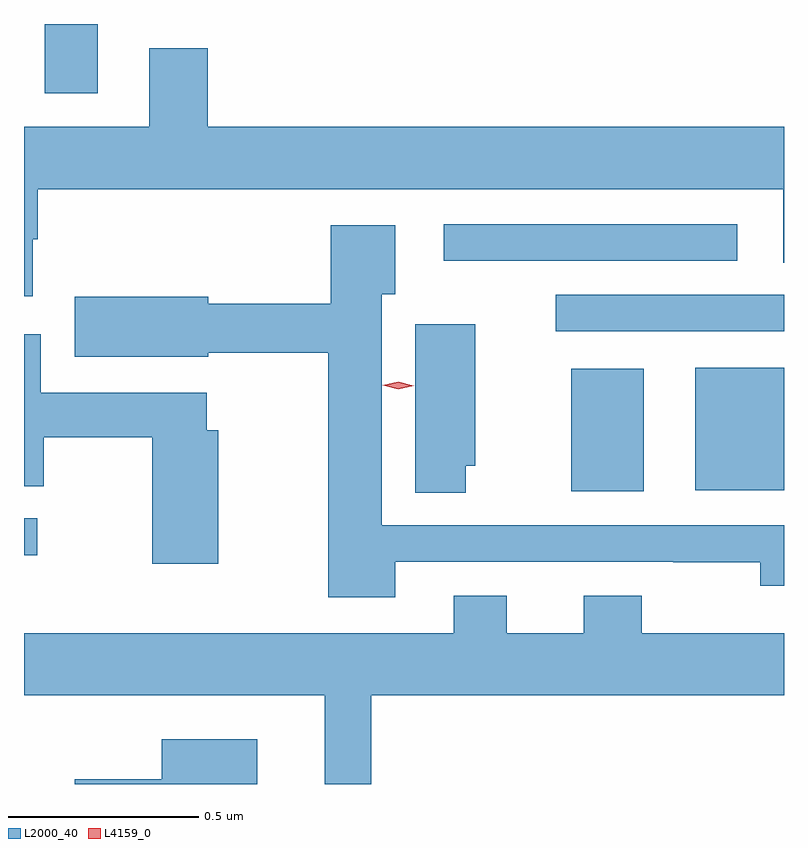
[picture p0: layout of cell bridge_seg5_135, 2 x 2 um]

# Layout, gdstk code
import gdstk
lib = gdstk.Library(unit=1e-6, precision=1e-09)
def R(c, l, rs):  # rectangles x0, y0, x1, y1
    for r in rs: c.add(gdstk.rectangle(r[:2], r[2:], *l))
def P(c, l, *ps):  # polygons
    for p in ps: c.add(gdstk.Polygon(p, *l))
L2000_40 = (2000, 40)
L4159_0 = (4159, 0)

bridge_seg5_135 = lib.new_cell('bridge_seg5_135')
R(bridge_seg5_135, L2000_40, [(305.303,893.093,305.338,893.19), (306.743,893.261,306.934,893.584), (307.07,893.264,307.303,893.587), (306.702,893.682,307.303,893.778), (306.408,893.868,307.18,893.964), (305.357,894.309,305.497,894.491)])
P(bridge_seg5_135, L2000_40, [(305.326,893.924),(305.339,893.924),(305.339,894.056),(307.301,894.056),(307.301,893.863),(307.303,893.863),(307.303,894.22),(305.786,894.22),(305.786,894.427),(305.633,894.427),(305.633,894.22),(305.303,894.22),(305.303,893.775),(305.326,893.775)],
  [(306.28,893.076),(307.012,893.076),(307.012,893.075),(307.24,893.075),(307.24,893.013),(307.303,893.013),(307.303,893.172),(306.244,893.172),(306.244,893.78),(306.28,893.78),(306.28,893.962),(306.11,893.962),(306.11,893.755),(305.788,893.755),(305.788,893.773),(305.436,893.773),(305.436,893.615),(305.788,893.615),(305.788,893.626),(306.103,893.626),(306.103,892.982),(306.28,892.982)],
  [(306.466,893.328),(306.49,893.328),(306.49,893.701),(306.332,893.701),(306.332,893.257),(306.466,893.257)],
  [(305.814,893.422),(305.784,893.422),(305.784,893.52),(305.347,893.52),(305.347,893.674),(305.303,893.674),(305.303,893.275),(305.355,893.275),(305.355,893.404),(305.641,893.404),(305.641,893.07),(305.814,893.07)],
  [(306.217,892.724),(307.303,892.724),(307.303,892.888),(306.929,892.888),(306.929,892.987),(306.776,892.987),(306.776,892.888),(306.574,892.888),(306.574,892.987),(306.434,892.987),(306.434,892.888),(305.303,892.888),(305.303,892.724),(306.095,892.724),(306.095,892.491),(306.217,892.491)],
  [(305.917,892.609),(305.666,892.609),(305.666,892.504),(305.436,892.504),(305.436,892.491),(305.917,892.491)])
P(bridge_seg5_135, L4159_0, [(306.288,893.53),(306.247,893.54),(306.247,893.54),(306.247,893.54),(306.288,893.55),(306.328,893.539),(306.329,893.539),(306.328,893.539)])

lib.write_gds('bridge_seg5_135.gds')
